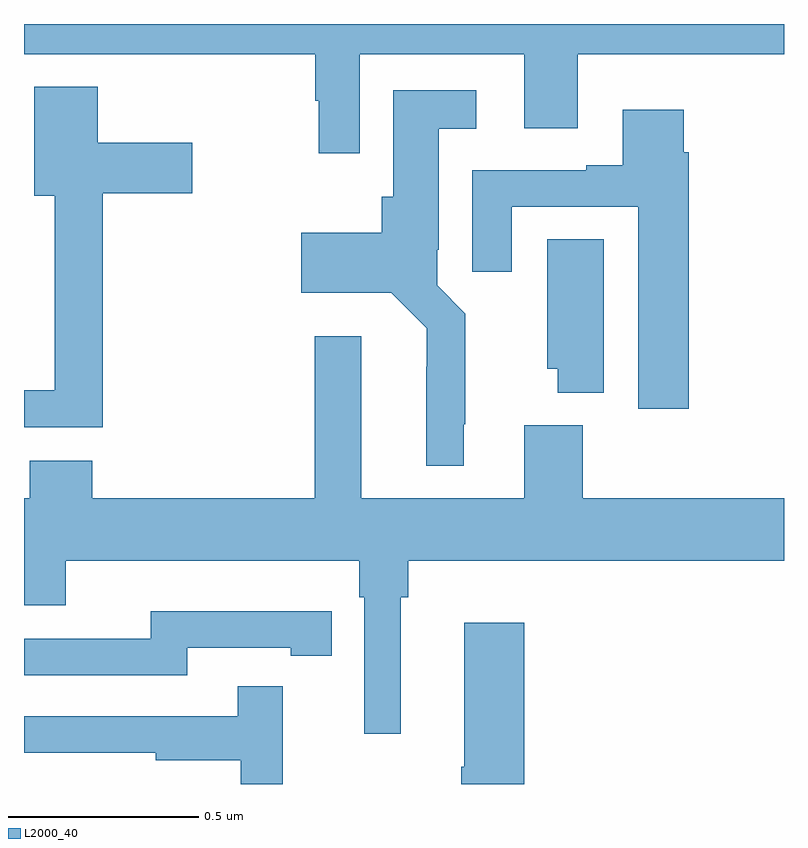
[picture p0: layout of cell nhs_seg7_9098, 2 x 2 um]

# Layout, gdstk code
import gdstk
lib = gdstk.Library(unit=1e-6, precision=1e-09)
def P(c, l, *ps):  # polygons
    for p in ps: c.add(gdstk.Polygon(p, *l))
L2000_40 = (2000, 40)

nhs_seg7_9098 = lib.new_cell('nhs_seg7_9098')
P(nhs_seg7_9098, L2000_40, [(233.883,1029.92),(234.317,1029.92),(234.317,1029.726),(234.457,1029.726),(234.457,1029.92),(235,1029.92),(235,1030),(233,1030),(233,1029.92),(233.767,1029.92),(233.767,1029.798),(233.775,1029.798),(233.775,1029.66),(233.883,1029.66)],
  [(233.207,1029.554),(233.443,1029.554),(233.443,1029.688),(233.194,1029.688),(233.194,1029.835),(233.027,1029.835),(233.027,1029.548),(233.081,1029.548),(233.081,1029.036),(233,1029.036),(233,1028.939),(233.207,1028.939)],
  [(234.157,1028.947),(234.161,1028.947),(234.161,1029.238),(234.087,1029.312),(234.087,1029.406),(234.091,1029.406),(234.091,1029.725),(234.19,1029.725),(234.19,1029.826),(233.972,1029.826),(233.972,1029.546),(233.942,1029.546),(233.942,1029.451),(233.73,1029.451),(233.73,1029.293),(233.967,1029.293),(234.06,1029.2),(234.06,1029.098),(234.059,1029.098),(234.059,1028.837),(234.157,1028.837)],
  [(234.749,1029.662),(234.736,1029.662),(234.736,1029.775),(234.575,1029.775),(234.575,1029.628),(234.479,1029.628),(234.479,1029.615),(234.179,1029.615),(234.179,1029.348),(234.283,1029.348),(234.283,1029.519),(234.617,1029.519),(234.617,1028.988),(234.749,1028.988)],
  [(234.526,1029.434),(234.377,1029.434),(234.377,1029.093),(234.404,1029.093),(234.404,1029.029),(234.526,1029.029)],
  [(233.992,1028.492),(234.011,1028.492),(234.011,1028.588),(235,1028.588),(235,1028.752),(234.47,1028.752),(234.47,1028.944),(234.317,1028.944),(234.317,1028.752),(233.887,1028.752),(233.887,1029.178),(233.765,1029.178),(233.765,1028.752),(233.18,1028.752),(233.18,1028.851),(233.015,1028.851),(233.015,1028.752),(233,1028.752),(233,1028.471),(233.11,1028.471),(233.11,1028.588),(233.882,1028.588),(233.882,1028.492),(233.895,1028.492),(233.895,1028.132),(233.992,1028.132)],
  [(233.43,1028.358),(233.702,1028.358),(233.702,1028.338),(233.81,1028.338),(233.81,1028.454),(233.702,1028.454),(233.702,1028.455),(233.334,1028.455),(233.334,1028.382),(233,1028.382),(233,1028.286),(233.43,1028.286)],
  [(234.317,1028.425),(234.158,1028.425),(234.158,1028.045),(234.151,1028.045),(234.151,1028),(234.317,1028)],
  [(233.681,1028.257),(233.563,1028.257),(233.563,1028.178),(233,1028.178),(233,1028.082),(233.347,1028.082),(233.347,1028.062),(233.571,1028.062),(233.571,1028),(233.681,1028)])

lib.write_gds('nhs_seg7_9098.gds')
